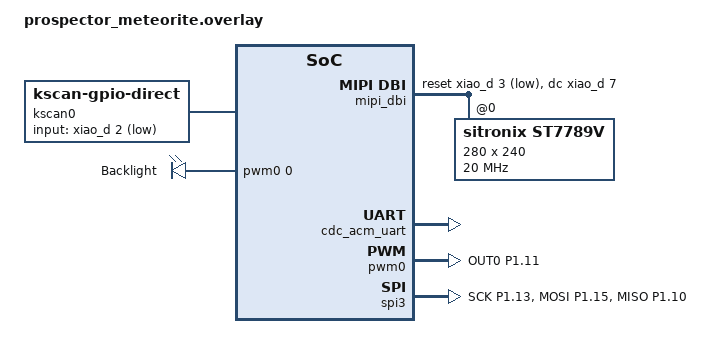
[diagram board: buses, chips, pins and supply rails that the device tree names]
/*
 * Prospector Meteorite shield overlay.
 *
 * Hardware identical to prospector_scanner: ST7789V over SPI3, PWM backlight
 * on P1.11, USB CDC ACM. Touch panel (CST816S) and ambient light sensor
 * (APDS9960) are physically present on the board but unused in this build,
 * so I2C0 is left disabled.
 */

#include <dt-bindings/zmk/matrix_transform.h>

/ {
    chosen {
        zmk,kscan = &kscan0;
        zmk,display = &st7789v;
        zephyr,display = &st7789v;
        zephyr,console = &cdc_acm_uart;
    };

    /* Dummy kscan — D2 keeps D0 free for other use */
    kscan0: kscan {
        compatible = "zmk,kscan-gpio-direct";
        wakeup-source;
        input-gpios = <&xiao_d 2 (GPIO_ACTIVE_LOW | GPIO_PULL_UP)>;
    };

    /* PWM backlight on P1.11 (=Pin 6), 1 kHz period for flicker-free dimming */
    pwmleds {
        compatible = "pwm-leds";
        backlight: backlight {
            pwms = <&pwm0 0 PWM_USEC(1000) PWM_POLARITY_NORMAL>;
            label = "Backlight";
        };
    };

    aliases {
        led0 = &backlight;
    };
};

/* USB CDC ACM — used by zephyr,console and (Phase 3) host rate-limit ingress */
&zephyr_udc0 {
    cdc_acm_uart: cdc_acm_uart {
        compatible = "zephyr,cdc-acm-uart";
    };
};

/* Default SPI2 unused on this shield */
&spi2 {
    status = "disabled";
};

/* PWM pinctrl */
&pinctrl {
    pwm0_default: pwm0_default {
        group1 {
            psels = <NRF_PSEL(PWM_OUT0, 1, 11)>;
        };
    };

    pwm0_sleep: pwm0_sleep {
        group1 {
            psels = <NRF_PSEL(PWM_OUT0, 1, 11)>;
            low-power-enable;
        };
    };
};

&pwm0 {
    status = "okay";
    pinctrl-0 = <&pwm0_default>;
    pinctrl-1 = <&pwm0_sleep>;
    pinctrl-names = "default", "sleep";
};

/* SPI3 for display */
&pinctrl {
    spi3_default: spi3_default {
        group1 {
            psels = <NRF_PSEL(SPIM_SCK, 1, 13)>,
                <NRF_PSEL(SPIM_MOSI, 1, 15)>,
                <NRF_PSEL(SPIM_MISO, 1, 10)>;
        };
    };

    spi3_sleep: spi3_sleep {
        group1 {
            psels = <NRF_PSEL(SPIM_SCK, 1, 13)>,
                <NRF_PSEL(SPIM_MOSI, 1, 15)>,
                <NRF_PSEL(SPIM_MISO, 1, 10)>;
            low-power-enable;
        };
    };
};

&spi3 {
    status = "okay";
    pinctrl-0 = <&spi3_default>;
    pinctrl-1 = <&spi3_sleep>;
    pinctrl-names = "default", "sleep";
    cs-gpios = <&xiao_d 9 GPIO_ACTIVE_LOW>;
};

/* MIPI DBI wrapper for ST7789V (280x240, landscape via mdac=0x60) */
/ {
    mipi_dbi {
        compatible = "zephyr,mipi-dbi-spi";
        spi-dev = <&spi3>;
        dc-gpios = <&xiao_d 7 GPIO_ACTIVE_HIGH>;
        reset-gpios = <&xiao_d 3 GPIO_ACTIVE_LOW>;
        write-only;
        #address-cells = <1>;
        #size-cells = <0>;

        st7789v: st7789v@0 {
            compatible = "sitronix,st7789v";
            reg = <0>;
            mipi-max-frequency = <20000000>;
            mipi-mode = "MIPI_DBI_MODE_SPI_4WIRE";
            width = <280>;
            height = <240>;
            x-offset = <20>;
            y-offset = <0>;
            vcom = <0x19>;
            gctrl = <0x35>;
            vrhs = <0x12>;
            vdvs = <0x20>;
            mdac = <0x60>;
            gamma = <0x01>;
            colmod = <0x05>;
            lcm = <0x2c>;
            porch-param = [0c 0c 00 33 33];
            cmd2en-param = [5a 69 02 01];
            pwctrl1-param = [a4 a1];
            pvgam-param = [D0 04 0D 11 13 2B 3F 54 4C 18 0D 0B 1F 23];
            nvgam-param = [D0 04 0C 11 13 2C 3F 44 51 2F 1F 1F 20 23];
            ram-param = [00 F0];
            rgb-param = [CD 08 14];
        };
    };
};
